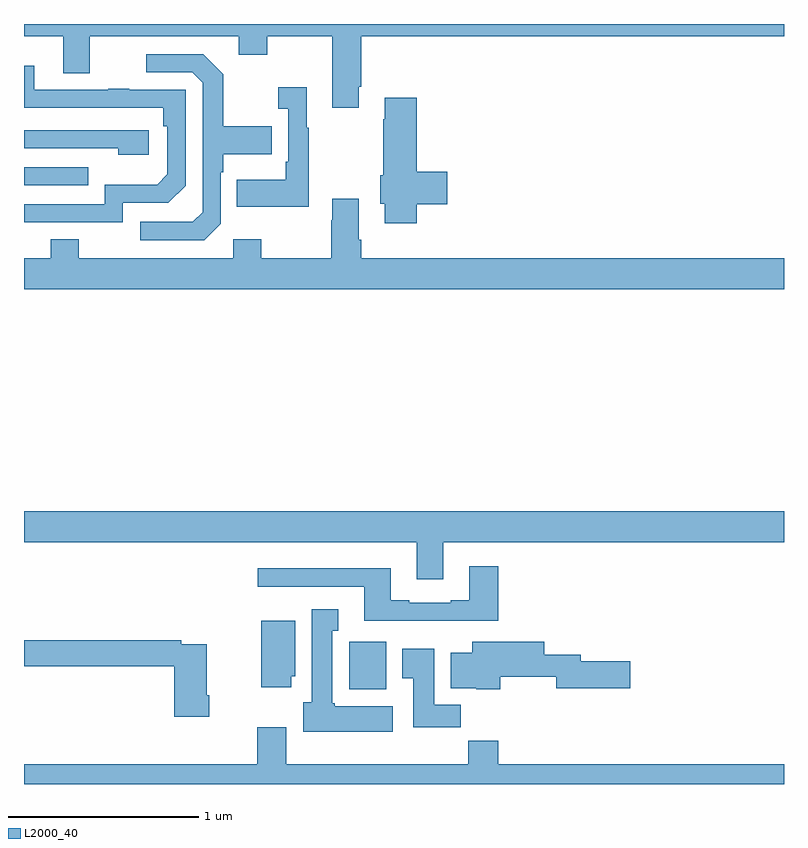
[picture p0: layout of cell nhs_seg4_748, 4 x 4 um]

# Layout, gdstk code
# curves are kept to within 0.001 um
import gdstk
lib = gdstk.Library(unit=1e-6, precision=1e-09)
def R(c, l, rs):  # rectangles x0, y0, x1, y1
    for r in rs: c.add(gdstk.rectangle(r[:2], r[2:], *l))
def P(c, l, *ps):  # polygons
    for p in ps: c.add(gdstk.Polygon(p, *l))
L2000_40 = (2000, 40)

nhs_seg4_748 = lib.new_cell('nhs_seg4_748')
R(nhs_seg4_748, L2000_40, [(150.711,777.398,150.907,777.648), (149,780.051,149.339,780.147)])
P(nhs_seg4_748, L2000_40, [(150.763,780.571),(150.776,780.571),(150.776,780.836),(153,780.836),(153,780.9),(149,780.9),(149,780.836),(149.207,780.836),(149.207,780.642),(149.347,780.642),(149.347,780.836),(150.131,780.836),(150.131,780.737),(150.279,780.737),(150.279,780.836),(150.623,780.836),(150.623,780.459),(150.763,780.459)],
  [(150.036,779.85),(150.036,780.119),(150.049,780.119),(150.049,780.215),(150.305,780.215),(150.305,780.363),(150.049,780.363),(150.049,780.635),(149.943,780.741),(149.643,780.741),(149.643,780.645),(149.886,780.645),(149.94,780.591),(149.94,779.91),(149.889,779.859),(149.613,779.859),(149.613,779.763),(149.949,779.763)],
  [(149.52,779.958),(149.76,779.958),(149.85,780.048),(149.85,780.555),(149.555,780.555),(149.555,780.56),(149.443,780.56),(149.443,780.555),(149.053,780.555),(149.053,780.679),(149,780.679),(149,780.46),(149.734,780.459),(149.734,780.362),(149.754,780.362),(149.754,780.108),(149.701,780.055),(149.424,780.055),(149.424,779.952),(149,779.952),(149,779.856),(149.52,779.856)],
  [(150.499,780.355),(150.487,780.355),(150.487,780.568),(150.339,780.568),(150.339,780.455),(150.39,780.455),(150.39,780.175),(150.378,780.175),(150.378,780.079),(150.121,780.079),(150.121,779.939),(150.499,779.939)],
  [(151.067,779.951),(151.228,779.951),(151.228,780.122),(151.067,780.122),(151.067,780.511),(150.899,780.511),(150.899,780.398),(150.892,780.398),(150.892,780.105),(150.875,780.105),(150.875,779.955),(150.899,779.955),(150.899,779.852),(151.067,779.852)],
  [(149.656,780.342),(149,780.342),(149,780.246),(149.495,780.246),(149.495,780.212),(149.656,780.212)],
  [(153,779.668),(150.776,779.668),(150.776,779.764),(150.763,779.764),(150.763,779.98),(150.623,779.98),(150.623,779.867),(150.616,779.867),(150.616,779.668),(150.249,779.668),(150.249,779.767),(150.102,779.767),(150.102,779.668),(149.289,779.668),(149.289,779.767),(149.141,779.767),(149.141,779.668),(149,779.668),(149,779.504),(153,779.504)],
  [(151.207,778.172),(153,778.172),(153,778.336),(149,778.336),(149,778.172),(151.067,778.172),(151.067,777.978),(151.207,777.978)],
  [(151.496,778.045),(151.343,778.045),(151.343,777.868),(151.247,777.868),(151.247,777.855),(151.027,777.855),(151.027,777.868),(150.931,777.868),(150.931,778.036),(150.231,778.036),(150.231,777.939),(150.791,777.939),(150.791,777.758),(151.496,777.758)],
  [(150.94,777.31),(150.636,777.31),(150.636,777.324),(150.622,777.324),(150.622,777.707),(150.655,777.707),(150.655,777.82),(150.515,777.82),(150.515,777.33),(150.47,777.33),(150.47,777.176),(150.94,777.176)],
  [(150.406,777.468),(150.427,777.468),(150.427,777.76),(150.248,777.76),(150.248,777.408),(150.406,777.408)],
  [(149.975,777.367),(149.962,777.367),(149.962,777.636),(149.828,777.636),(149.828,777.656),(149,777.656),(149,777.52),(149.792,777.52),(149.792,777.255),(149.975,777.255)],
  [(151.506,777.464),(151.802,777.464),(151.802,777.403),(152.191,777.403),(152.191,777.545),(151.93,777.545),(151.93,777.581),(151.738,777.581),(151.738,777.649),(151.358,777.649),(151.358,777.592),(151.247,777.592),(151.247,777.404),(151.38,777.404),(151.38,777.398),(151.506,777.398)],
  [(151.298,777.316),(151.159,777.316),(151.159,777.613),(150.992,777.613),(150.992,777.457),(151.049,777.457),(151.049,777.198),(151.298,777.198)],
  [(153,777.004),(151.496,777.004),(151.496,777.128),(151.339,777.128),(151.339,777.004),(150.379,777.004),(150.379,777.199),(150.227,777.199),(150.227,777.004),(149,777.004),(149,776.9),(153,776.9)])

lib.write_gds('nhs_seg4_748.gds')
